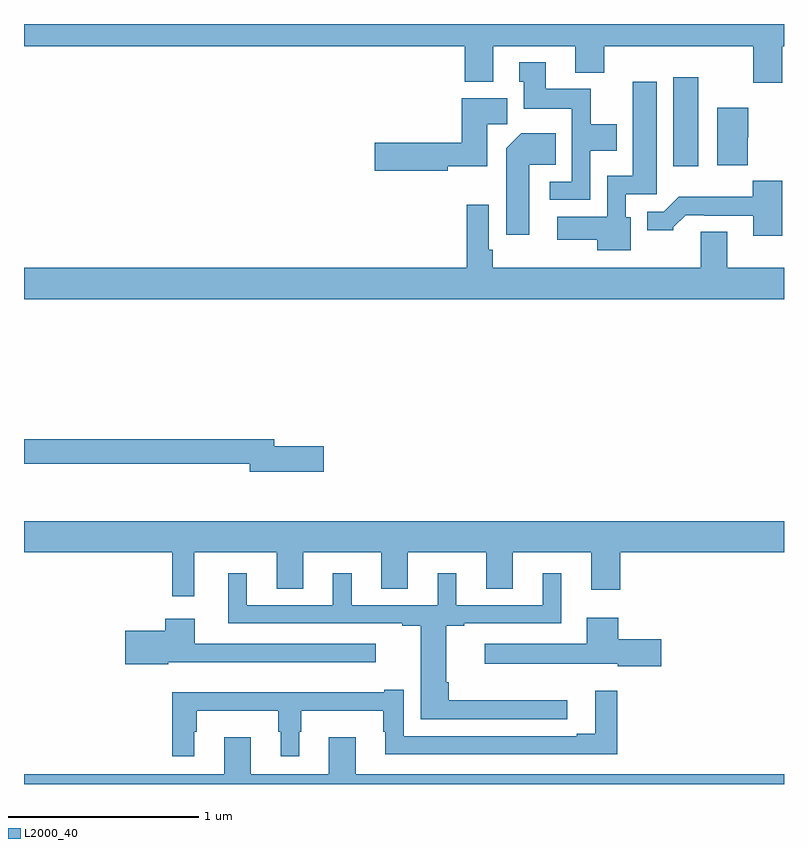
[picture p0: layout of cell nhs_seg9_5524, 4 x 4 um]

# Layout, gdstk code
import gdstk
lib = gdstk.Library(unit=1e-6, precision=1e-09)
def R(c, l, rs):  # rectangles x0, y0, x1, y1
    for r in rs: c.add(gdstk.rectangle(r[:2], r[2:], *l))
def P(c, l, *ps):  # polygons
    for p in ps: c.add(gdstk.Polygon(p, *l))
L2000_40 = (2000, 40)

nhs_seg9_5524 = lib.new_cell('nhs_seg9_5524')
R(nhs_seg9_5524, L2000_40, [(434.417,1231.752,434.548,1232.221)])
P(nhs_seg9_5524, L2000_40, [(431,1232.384),(433.319,1232.384),(433.319,1232.195),(433.471,1232.195),(433.471,1232.384),(433.901,1232.384),(433.901,1232.243),(434.054,1232.243),(434.054,1232.384),(434.837,1232.384),(434.837,1232.19),(434.99,1232.19),(434.99,1232.384),(435,1232.384),(435,1232.5),(431,1232.5)],
  [(433.98,1231.832),(434.119,1231.832),(434.119,1231.972),(433.983,1231.972),(433.983,1232.158),(433.747,1232.158),(433.747,1232.299),(433.607,1232.299),(433.607,1232.196),(433.631,1232.196),(433.631,1232.054),(433.884,1232.054),(433.884,1231.671),(433.767,1231.671),(433.767,1231.575),(433.98,1231.575)],
  [(434.194,1231.482),(434.166,1231.482),(434.166,1231.605),(434.329,1231.605),(434.329,1232.197),(434.204,1232.197),(434.204,1231.702),(434.07,1231.702),(434.07,1231.486),(433.806,1231.486),(433.806,1231.364),(434.018,1231.364),(434.018,1231.31),(434.194,1231.31)],
  [(433.23,1231.751),(433.438,1231.751),(433.438,1231.972),(433.543,1231.972),(433.543,1232.11),(433.304,1232.11),(433.304,1231.874),(432.846,1231.874),(432.846,1231.727),(433.23,1231.727)],
  [(434.81,1231.905),(434.812,1231.905),(434.812,1232.059),(434.648,1232.059),(434.648,1231.757),(434.81,1231.757)],
  [(433.66,1231.76),(433.799,1231.76),(433.799,1231.924),(433.616,1231.924),(433.538,1231.846),(433.538,1231.392),(433.66,1231.392)],
  [(434.99,1231.675),(434.835,1231.675),(434.835,1231.591),(434.446,1231.591),(434.367,1231.512),(434.279,1231.512),(434.279,1231.415),(434.418,1231.415),(434.418,1231.43),(434.482,1231.494),(434.581,1231.494),(434.581,1231.491),(434.837,1231.491),(434.837,1231.386),(434.99,1231.386)],
  [(435,1231.216),(434.701,1231.216),(434.701,1231.406),(434.561,1231.406),(434.561,1231.216),(433.466,1231.216),(433.466,1231.312),(433.446,1231.312),(433.446,1231.549),(433.33,1231.549),(433.33,1231.216),(431,1231.216),(431,1231.052),(435,1231.052)],
  [(432.577,1230.278),(432.316,1230.278),(432.316,1230.314),(431,1230.314),(431,1230.186),(432.188,1230.186),(432.188,1230.143),(432.577,1230.143)],
  [(431.897,1229.72),(432.329,1229.72),(432.329,1229.527),(432.469,1229.527),(432.469,1229.72),(432.881,1229.72),(432.881,1229.527),(433.021,1229.527),(433.021,1229.72),(433.433,1229.72),(433.433,1229.527),(433.573,1229.527),(433.573,1229.72),(433.985,1229.72),(433.985,1229.523),(434.138,1229.523),(434.138,1229.72),(435,1229.72),(435,1229.884),(431,1229.884),(431,1229.72),(431.779,1229.72),(431.779,1229.487),(431.897,1229.487)],
  [(433.858,1228.94),(433.235,1228.94),(433.235,1229.035),(433.222,1229.035),(433.222,1229.334),(433.318,1229.334),(433.318,1229.346),(433.828,1229.346),(433.828,1229.608),(433.73,1229.608),(433.73,1229.442),(433.276,1229.442),(433.276,1229.608),(433.178,1229.608),(433.178,1229.442),(432.724,1229.442),(432.724,1229.608),(432.626,1229.608),(432.626,1229.442),(432.172,1229.442),(432.172,1229.608),(432.074,1229.608),(432.074,1229.346),(432.992,1229.346),(432.992,1229.334),(433.088,1229.334),(433.088,1228.842),(433.858,1228.842)],
  [(434.353,1229.262),(434.128,1229.262),(434.128,1229.374),(433.961,1229.374),(433.961,1229.239),(433.425,1229.239),(433.425,1229.132),(434.124,1229.132),(434.124,1229.12),(434.353,1229.12)],
  [(431.76,1229.141),(432.85,1229.141),(432.85,1229.238),(431.899,1229.238),(431.899,1229.371),(431.744,1229.371),(431.744,1229.307),(431.532,1229.307),(431.532,1229.129),(431.76,1229.129)],
  [(431.896,1228.775),(431.908,1228.775),(431.908,1228.886),(432.339,1228.886),(432.339,1228.775),(432.35,1228.775),(432.35,1228.647),(432.448,1228.647),(432.448,1228.775),(432.46,1228.775),(432.46,1228.886),(432.891,1228.886),(432.891,1228.775),(432.902,1228.775),(432.902,1228.656),(434.123,1228.656),(434.123,1228.99),(434.006,1228.99),(434.006,1228.765),(433.91,1228.765),(433.91,1228.752),(432.999,1228.752),(432.999,1228.996),(432.896,1228.996),(432.896,1228.984),(431.779,1228.984),(431.779,1228.647),(431.896,1228.647)],
  [(435,1228.552),(432.745,1228.552),(432.745,1228.747),(432.605,1228.747),(432.605,1228.552),(432.193,1228.552),(432.193,1228.747),(432.053,1228.747),(432.053,1228.552),(431,1228.552),(431,1228.5),(435,1228.5)])

lib.write_gds('nhs_seg9_5524.gds')
